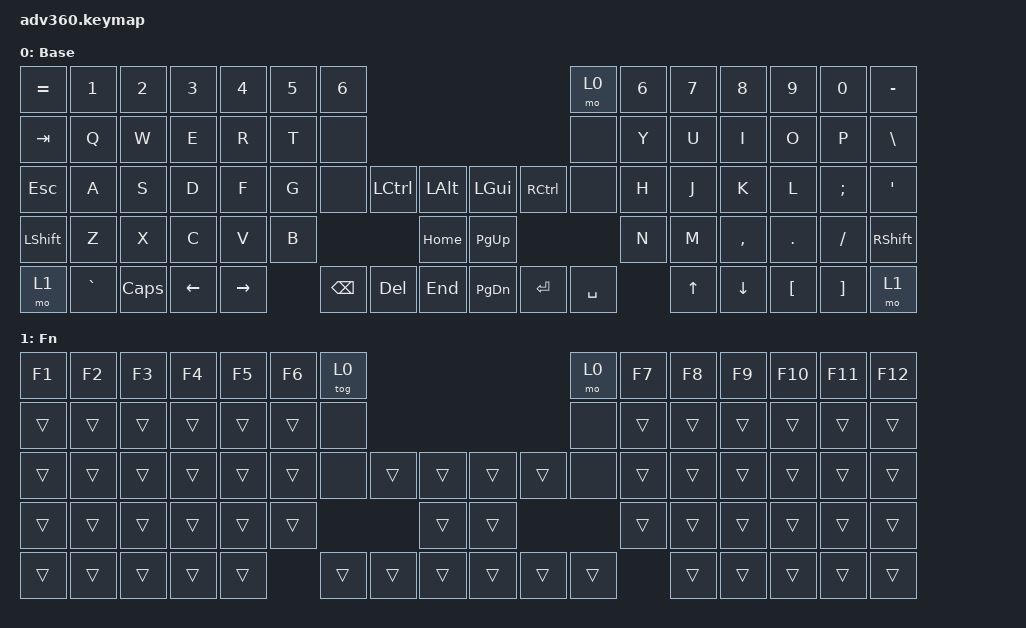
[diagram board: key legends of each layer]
#include <dt-bindings/zmk/stp.h>
#include <behaviors.dtsi>
#include <dt-bindings/zmk/keys.h>

/ {
    behaviors {
        #include "macros.dtsi"
      #include "version.dtsi"

        hm: homerow_mods {
            compatible = "zmk,behavior-hold-tap";
            label = "HOMEROW_MODS";
            #binding-cells = <2>;
            tapping-term-ms = <200>;
            quick_tap_ms = <175>;
            flavor = "tap-preferred";
            bindings = <&kp>, <&kp>;
        };
    };

    keymap {
        compatible = "zmk,keymap";

        default_layer {
            display-name = "Base";
            bindings = <
&kp EQUAL  &kp N1     &kp N2    &kp N3    &kp N4     &kp N5  &kp NUMBER_6                                                 &mo 0      &kp N6  &kp N7  &kp N8     &kp N9    &kp N0    &kp MINUS
&kp TAB    &kp Q      &kp W     &kp E     &kp R      &kp T   &none                                                        &none      &kp Y   &kp U   &kp I      &kp O     &kp P     &kp BSLH
&kp ESC    &kp A      &kp S     &kp D     &kp F      &kp G   &none         &kp LCTRL  &kp LALT      &kp LGUI   &kp RCTRL  &none      &kp H   &kp J   &kp K      &kp L     &kp SEMI  &kp SQT
&kp LSHFT  &kp Z      &kp X     &kp C     &kp V      &kp B                            &kp HOME      &kp PG_UP                        &kp N   &kp M   &kp COMMA  &kp DOT   &kp FSLH  &kp RSHFT
&mo 1      &kp GRAVE  &kp CAPS  &kp LEFT  &kp RIGHT          &kp BSPC      &kp DEL    &kp END       &kp PG_DN  &kp ENTER  &kp SPACE          &kp UP  &kp DOWN   &kp LBKT  &kp RBKT  &mo 1
            >;
        };

        fn {
            display-name = "Fn";
            bindings = <
&kp F1  &kp F2  &kp F3  &kp F4  &kp F5  &kp F6  &tog 0                                      &mo 0   &kp F7  &kp F8  &kp F9  &kp F10  &kp F11  &kp F12
&trans  &trans  &trans  &trans  &trans  &trans  &none                                       &none   &trans  &trans  &trans  &trans   &trans   &trans
&trans  &trans  &trans  &trans  &trans  &trans  &none   &trans  &trans      &trans  &trans  &none   &trans  &trans  &trans  &trans   &trans   &trans
&trans  &trans  &trans  &trans  &trans  &trans                  &trans      &trans                  &trans  &trans  &trans  &trans   &trans   &trans
&trans  &trans  &trans  &trans  &trans          &trans  &trans  &trans      &trans  &trans  &trans          &trans  &trans  &trans   &trans   &trans
            >;
        };

        extra1 {
            display-name = "Red";
            status = "reserved";
        };

        extra2 {
            display-name = "Purple";
            status = "reserved";
        };

        extra3 {
            display-name = "Cyan";
            status = "reserved";
        };

        extra4 {
            display-name = "Yellow";
            status = "reserved";
        };
    };
};
